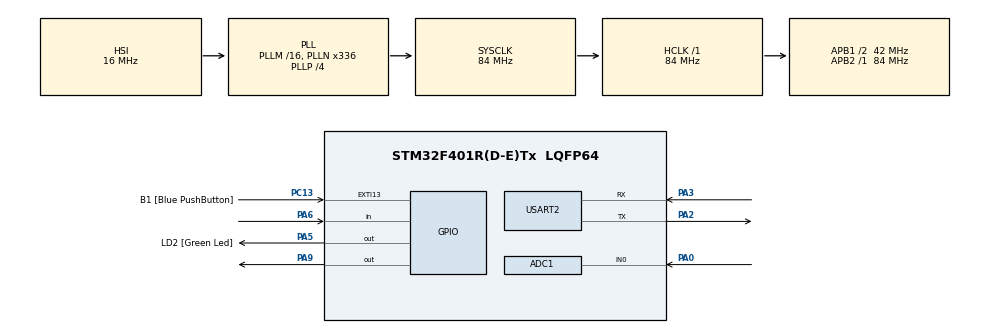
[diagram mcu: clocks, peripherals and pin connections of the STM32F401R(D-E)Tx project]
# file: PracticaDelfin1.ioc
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ADC1.Channel-0\#ChannelRegularConversion=ADC_CHANNEL_0
ADC1.ContinuousConvMode=DISABLE
ADC1.NbrOfConversionFlag=1
ADC1.Rank-0\#ChannelRegularConversion=1
ADC1.SamplingTime-0\#ChannelRegularConversion=ADC_SAMPLETIME_3CYCLES
ADC1.master=1
FREERTOS.Tasks01=defaultTask,24,128,StartDefaultTask,Default,NULL,Dynamic,NULL,NULL
FREERTOS.configUSE_IDLE_HOOK=1
FREERTOS.configUSE_NEWLIB_REENTRANT=1
Mcu.Family=STM32F4
Mcu.Name=STM32F401R(D-E)Tx
Mcu.Package=LQFP64
NVIC.PriorityGroup=NVIC_PRIORITYGROUP_4
NVIC.TIM1_UP_TIM10_IRQn=true\:15\:0\:false\:false\:true\:false\:false\:true\:true
NVIC.TimeBase=TIM1_UP_TIM10_IRQn
NVIC.TimeBaseIP=TIM1
PA0-WKUP.Signal=ADCx_IN0
PA13.GPIO_Label=TMS
PA13.Mode=Serial_Wire
PA13.Signal=SYS_JTMS-SWDIO
PA14.GPIO_Label=TCK
PA14.Mode=Serial_Wire
PA14.Signal=SYS_JTCK-SWCLK
PA2.GPIO_Mode=GPIO_MODE_AF_PP
PA2.GPIO_ModeDefaultPP=GPIO_MODE_AF_PP
PA2.GPIO_PuPd=GPIO_NOPULL
PA2.GPIO_Speed=GPIO_SPEED_FREQ_VERY_HIGH
PA2.Mode=Asynchronous
PA2.Signal=USART2_TX
PA3.GPIO_Mode=GPIO_MODE_AF_PP
PA3.GPIO_ModeDefaultPP=GPIO_MODE_AF_PP
PA3.GPIO_PuPd=GPIO_NOPULL
PA3.GPIO_Speed=GPIO_SPEED_FREQ_VERY_HIGH
PA3.Mode=Asynchronous
PA3.Signal=USART2_RX
PA5.GPIO_Label=LD2 [Green Led]
PA5.GPIO_Mode=GPIO_MODE_OUTPUT_PP
PA5.GPIO_PuPd=GPIO_NOPULL
PA5.GPIO_Speed=GPIO_SPEED_FREQ_LOW
PA5.Signal=GPIO_Output
PA6.GPIO_PuPd=GPIO_PULLDOWN
PA6.Signal=GPIO_Input
PA9.Signal=GPIO_Output
PB3.GPIO_Label=SWO
PB3.Signal=SYS_JTDO-SWO
PC13-ANTI_TAMP.GPIO_Label=B1 [Blue PushButton]
PC13-ANTI_TAMP.GPIO_ModeDefaultEXTI=GPIO_MODE_IT_FALLING
PC13-ANTI_TAMP.GPIO_PuPd=GPIO_NOPULL
PC13-ANTI_TAMP.Signal=GPXTI13
PC14-OSC32_IN.Mode=LSE-External-Oscillator
PC14-OSC32_IN.Signal=RCC_OSC32_IN
PC15-OSC32_OUT.Mode=LSE-External-Oscillator
PC15-OSC32_OUT.Signal=RCC_OSC32_OUT
PH0\ -\ OSC_IN.Mode=HSE-External-Clock-Source
PH0\ -\ OSC_IN.Signal=RCC_OSC_IN
PH1\ -\ OSC_OUT.Mode=HSE-External-Clock-Source
PH1\ -\ OSC_OUT.Signal=RCC_OSC_OUT
ProjectManager.HeapSize=0x200
ProjectManager.StackSize=0x400
ProjectManager.TargetToolchain=STM32CubeIDE
RCC.48MHZClocksFreq_Value=48000000
RCC.AHBFreq_Value=84000000
RCC.APB1CLKDivider=RCC_HCLK_DIV2
RCC.APB1Freq_Value=42000000
RCC.APB1TimFreq_Value=84000000
RCC.APB2Freq_Value=84000000
RCC.APB2TimFreq_Value=84000000
RCC.CortexFreq_Value=84000000
RCC.HCLKFreq_Value=84000000
RCC.HSE_VALUE=8000000
RCC.HSI_VALUE=16000000
RCC.PLLN=336
RCC.PLLP=RCC_PLLP_DIV4
RCC.PLLQ=7
RCC.SYSCLKFreq_VALUE=84000000
RCC.SYSCLKSource=RCC_SYSCLKSOURCE_PLLCLK
RCC.VCOOutputFreq_Value=336000000
SH.ADCx_IN0.0=ADC1_IN0,IN0
USART2.VirtualMode=VM_ASYNC
VP_FREERTOS_VS_CMSIS_V2.Mode=CMSIS_V2
VP_SYS_VS_tim1.Mode=TIM1
board=NUCLEO-F401RE

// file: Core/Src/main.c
/* USER CODE BEGIN Header */
/**
  ******************************************************************************
  * @file           : main.c
  * @brief          : Main program body
  ******************************************************************************
  * @attention
  *
  * Copyright (c) 2026 STMicroelectronics.
  * All rights reserved.
  *
  * This software is licensed under terms that can be found in the LICENSE file
  * in the root directory of this software component.
  * If no LICENSE file comes with this software, it is provided AS-IS.
  *
  ******************************************************************************
  */
/*
 *
 * Integrantes:
 * Victor Hugo Barrera Garcia y Sergio Garcia Hernandez
 *
 * Conclusion:
 * En esta practica se implemento un sistema multitarea en STM32
 * utilizando FreeRTOS, donde se controlo el parpadeo de un LED en
 * dos velocidades diferentes y se realizo la lectura del ADC al
 * presionar un boton.
 *
 * Se comprobo que las tareas pueden coordinarse mediante suspension
 * y reanudacion, permitiendo que el sistema ejecute primero el modo
 * rapido durante 5 segundos, despues el modo lento durante 5 segundos
 * y finalmente entre a un estado de espera.
 *
 * Durante el estado de espera, si se presiona el boton, el sistema
 * lee el valor del ADC, calcula el voltaje correspondiente y lo
 * muestra por UART. Si no se presiona el boton, el programa regresa
 * automaticamente al modo rapido despues de 5 segundos.
 *
 * Esta practica permitio reforzar conceptos importantes de sistemas
 * embebidos en tiempo real, como tareas, retardos, prioridades,
 * Idle Hook, lectura analogica y comunicacion serial.
 */
/* USER CODE END Header */
#include "main.h"
#include "cmsis_os.h"

/* USER CODE BEGIN Includes */
#include <stdio.h>
#include <string.h>
#include "FreeRTOS.h"
#include "task.h"

/* USER CODE END Includes */

ADC_HandleTypeDef hadc1;

UART_HandleTypeDef huart2;

/* Definitions for defaultTask */
osThreadId_t defaultTaskHandle;
const osThreadAttr_t defaultTask_attributes = {
  .name = "defaultTask",
  .stack_size = 128 * 4,
  .priority = (osPriority_t) osPriorityNormal,
};
/* USER CODE BEGIN PV */
TaskHandle_t hTaskLedRapido = NULL;
TaskHandle_t hTaskLedLento  = NULL;
TaskHandle_t hTaskADC       = NULL;
#define PRIORIDAD_LEDRapido 2
#define PRIORIDAD_LEDLento  2
#define PRIORIDAD_ADC  2

volatile uint8_t IDLE_HOOK = 0;
volatile uint32_t tiempoInicioIdle = 0;

/* USER CODE END PV */

void SystemClock_Config(void);
static void MX_GPIO_Init(void);
static void MX_USART2_UART_Init(void);
static void MX_ADC1_Init(void);
void StartDefaultTask(void *argument);

/* USER CODE BEGIN PFP */
int uart2_write(int ch);
int __io_putchar(int ch);

void vTaskLedRapido(void *pvParameters);
void vTaskLedLento(void *pvParameters);
void vTaskADC(void *pvParameters);
uint32_t Leer_ADC(void);

//float LeerVoltajeADC(void);

/* USER CODE END PFP */

int main(void)
{

  /* MCU Configuration--------------------------------------------------------*/

  /* Reset of all peripherals, Initializes the Flash interface and the Systick. */
  HAL_Init();

  /* Configure the system clock */
  SystemClock_Config();

  /* Initialize all configured peripherals */
  MX_GPIO_Init();
  MX_USART2_UART_Init();
  MX_ADC1_Init();
  /* USER CODE BEGIN 2 */
  printf("vic y Sergio\n\r");
  xTaskCreate(vTaskLedRapido,
              "LedRapido",
              512,
              NULL,
			  PRIORIDAD_LEDRapido,
			  &hTaskLedRapido);

  xTaskCreate(vTaskLedLento,
              "LedLento",
			  512,
              NULL,
			  PRIORIDAD_LEDLento,
			  &hTaskLedLento);

   xTaskCreate(vTaskADC,
              "ADC",
			  512,
              NULL,
			  PRIORIDAD_ADC,
			  &hTaskADC);

  vTaskSuspend(hTaskLedLento);
  vTaskSuspend(hTaskADC);

  vTaskStartScheduler();

  /* USER CODE END 2 */

  /* We should never get here as control is now taken by the scheduler */

  /* Infinite loop */
  while (1)
  {

  }
}

void SystemClock_Config(void)
{
  RCC_OscInitTypeDef RCC_OscInitStruct = {0};
  RCC_ClkInitTypeDef RCC_ClkInitStruct = {0};

  /** Configure the main internal regulator output voltage
  */
  __HAL_RCC_PWR_CLK_ENABLE();
  __HAL_PWR_VOLTAGESCALING_CONFIG(PWR_REGULATOR_VOLTAGE_SCALE2);

  /** Initializes the RCC Oscillators according to the specified parameters
  * in the RCC_OscInitTypeDef structure.
  */
  RCC_OscInitStruct.OscillatorType = RCC_OSCILLATORTYPE_HSI;
  RCC_OscInitStruct.HSIState = RCC_HSI_ON;
  RCC_OscInitStruct.HSICalibrationValue = RCC_HSICALIBRATION_DEFAULT;
  RCC_OscInitStruct.PLL.PLLState = RCC_PLL_ON;
  RCC_OscInitStruct.PLL.PLLSource = RCC_PLLSOURCE_HSI;
  RCC_OscInitStruct.PLL.PLLM = 16;
  RCC_OscInitStruct.PLL.PLLN = 336;
  RCC_OscInitStruct.PLL.PLLP = RCC_PLLP_DIV4;
  RCC_OscInitStruct.PLL.PLLQ = 7;
  if (HAL_RCC_OscConfig(&RCC_OscInitStruct) != HAL_OK)
  {
    Error_Handler();
  }

  /** Initializes the CPU, AHB and APB buses clocks
  */
  RCC_ClkInitStruct.ClockType = RCC_CLOCKTYPE_HCLK|RCC_CLOCKTYPE_SYSCLK
                              |RCC_CLOCKTYPE_PCLK1|RCC_CLOCKTYPE_PCLK2;
  RCC_ClkInitStruct.SYSCLKSource = RCC_SYSCLKSOURCE_PLLCLK;
  RCC_ClkInitStruct.AHBCLKDivider = RCC_SYSCLK_DIV1;
  RCC_ClkInitStruct.APB1CLKDivider = RCC_HCLK_DIV2;
  RCC_ClkInitStruct.APB2CLKDivider = RCC_HCLK_DIV1;

  if (HAL_RCC_ClockConfig(&RCC_ClkInitStruct, FLASH_LATENCY_2) != HAL_OK)
  {
    Error_Handler();
  }
}

static void MX_ADC1_Init(void)
{

  ADC_ChannelConfTypeDef sConfig = {0};

  /** Configure the global features of the ADC (Clock, Resolution, Data Alignment and number of conversion)
  */
  hadc1.Instance = ADC1;
  hadc1.Init.ClockPrescaler = ADC_CLOCK_SYNC_PCLK_DIV4;
  hadc1.Init.Resolution = ADC_RESOLUTION_12B;
  hadc1.Init.ScanConvMode = DISABLE;
  hadc1.Init.ContinuousConvMode = DISABLE;
  hadc1.Init.DiscontinuousConvMode = DISABLE;
  hadc1.Init.ExternalTrigConvEdge = ADC_EXTERNALTRIGCONVEDGE_NONE;
  hadc1.Init.ExternalTrigConv = ADC_SOFTWARE_START;
  hadc1.Init.DataAlign = ADC_DATAALIGN_RIGHT;
  hadc1.Init.NbrOfConversion = 1;
  hadc1.Init.DMAContinuousRequests = DISABLE;
  hadc1.Init.EOCSelection = ADC_EOC_SINGLE_CONV;
  if (HAL_ADC_Init(&hadc1) != HAL_OK)
  {
    Error_Handler();
  }

  /** Configure for the selected ADC regular channel its corresponding rank in the sequencer and its sample time.
  */
  sConfig.Channel = ADC_CHANNEL_0;
  sConfig.Rank = 1;
  sConfig.SamplingTime = ADC_SAMPLETIME_3CYCLES;
  if (HAL_ADC_ConfigChannel(&hadc1, &sConfig) != HAL_OK)
  {
    Error_Handler();
  }

}

static void MX_USART2_UART_Init(void)
{

  huart2.Instance = USART2;
  huart2.Init.BaudRate = 115200;
  huart2.Init.WordLength = UART_WORDLENGTH_8B;
  huart2.Init.StopBits = UART_STOPBITS_1;
  huart2.Init.Parity = UART_PARITY_NONE;
  huart2.Init.Mode = UART_MODE_TX_RX;
  huart2.Init.HwFlowCtl = UART_HWCONTROL_NONE;
  huart2.Init.OverSampling = UART_OVERSAMPLING_16;
  if (HAL_UART_Init(&huart2) != HAL_OK)
  {
    Error_Handler();
  }

}

static void MX_GPIO_Init(void)
{
  GPIO_InitTypeDef GPIO_InitStruct = {0};

  /* GPIO Ports Clock Enable */
  __HAL_RCC_GPIOC_CLK_ENABLE();
  __HAL_RCC_GPIOH_CLK_ENABLE();
  __HAL_RCC_GPIOA_CLK_ENABLE();
  __HAL_RCC_GPIOB_CLK_ENABLE();

  /*Configure GPIO pin Output Level */
  HAL_GPIO_WritePin(GPIOA, LD2_Pin|GPIO_PIN_9, GPIO_PIN_RESET);

  /*Configure GPIO pin : B1_Pin */
  GPIO_InitStruct.Pin = B1_Pin;
  GPIO_InitStruct.Mode = GPIO_MODE_IT_FALLING;
  GPIO_InitStruct.Pull = GPIO_NOPULL;
  HAL_GPIO_Init(B1_GPIO_Port, &GPIO_InitStruct);

  /*Configure GPIO pins : LD2_Pin PA9 */
  GPIO_InitStruct.Pin = LD2_Pin|GPIO_PIN_9;
  GPIO_InitStruct.Mode = GPIO_MODE_OUTPUT_PP;
  GPIO_InitStruct.Pull = GPIO_NOPULL;
  GPIO_InitStruct.Speed = GPIO_SPEED_FREQ_LOW;
  HAL_GPIO_Init(GPIOA, &GPIO_InitStruct);

  /*Configure GPIO pin : PA6 */
  GPIO_InitStruct.Pin = GPIO_PIN_6;
  GPIO_InitStruct.Mode = GPIO_MODE_INPUT;
  GPIO_InitStruct.Pull = GPIO_PULLDOWN;
  HAL_GPIO_Init(GPIOA, &GPIO_InitStruct);

}

/* USER CODE BEGIN 4 */

// Función usada para enviar un carácter por UART2
int uart2_write(int ch)
{
    // Espera hasta que el registro de transmisión esté vacío
    while (!(USART2->SR & USART_SR_TXE)) {}

    // Envía el carácter por el registro de datos de USART2
    USART2->DR = (ch & 0xFF);

    // Regresa el carácter enviado
    return ch;
}

// Redirección de printf hacia UART2
int __io_putchar(int ch)
{
    uart2_write(ch);   // Envía cada carácter de printf por UART2
    return ch;
}

// Tarea encargada del parpadeo rápido del LED
void vTaskLedRapido(void *pvParameters)
{
    for (;;)
    {
        printf("LED_R\r\n");   // Indica por UART que inició el modo rápido

        // Guarda el tiempo inicial del modo rápido
        uint32_t tiempoInicio = xTaskGetTickCount();

        // Mantiene el parpadeo rápido durante 5 segundos
        while ((xTaskGetTickCount() - tiempoInicio) < pdMS_TO_TICKS(5000))
        {
            HAL_GPIO_TogglePin(GPIOA, GPIO_PIN_9);   // Cambia el estado del LED
            vTaskDelay(pdMS_TO_TICKS(100));          // Retardo de 100 ms
        }

        // Apaga el LED al terminar el modo rápido
        HAL_GPIO_WritePin(GPIOA, GPIO_PIN_9, GPIO_PIN_RESET);

        // Reanuda la tarea del LED lento
        vTaskResume(hTaskLedLento);

        // Suspende esta tarea hasta que otra tarea la vuelva a reanudar
        vTaskSuspend(NULL);
    }
}

// Tarea encargada del parpadeo lento del LED
void vTaskLedLento(void *pvParameters)
{
    for (;;)
    {
        printf("LED_L\r\n");   // Indica por UART que inició el modo lento

        // Guarda el tiempo inicial del modo lento
        uint32_t tiempoInicio = xTaskGetTickCount();

        // Mantiene el parpadeo lento durante 5 segundos
        while ((xTaskGetTickCount() - tiempoInicio) < pdMS_TO_TICKS(5000))
        {
            HAL_GPIO_TogglePin(GPIOA, GPIO_PIN_9);   // Cambia el estado del LED
            vTaskDelay(pdMS_TO_TICKS(500));          // Retardo de 500 ms
        }

        // Apaga el LED al terminar el modo lento
        HAL_GPIO_WritePin(GPIOA, GPIO_PIN_9, GPIO_PIN_RESET);

        // Activa la bandera para indicar que el sistema entra al estado IDLE
        IDLE_HOOK = 1;

        // Guarda el tiempo en que inició el estado IDLE
        tiempoInicioIdle = xTaskGetTickCount();

        // Suspende esta tarea hasta que vuelva a ser reanudada
        vTaskSuspend(NULL);
    }
}

// Tarea encargada de leer el ADC y mostrar el voltaje
void vTaskADC(void *pvParameters)
{
    for (;;)
    {
        // Lee el valor digital del ADC
        uint32_t adc = Leer_ADC();

        // Convierte el valor ADC a voltaje considerando referencia de 3.3 V y resolución de 12 bits
        float voltaje = (adc * 3.3f) / 4095.0f;

        // Imprime por UART el valor crudo del ADC y su equivalente en voltaje
        printf("Valor del ADC: %lu  Voltaje: %.2f V\r\n", adc, voltaje);

        // Pequeño retardo para evitar lecturas demasiado rápidas
        vTaskDelay(pdMS_TO_TICKS(500));

        // Después de leer el ADC, regresa inmediatamente al modo de LED rápido
        vTaskResume(hTaskLedRapido);

        // Suspende la tarea ADC hasta que el botón vuelva a activarla
        vTaskSuspend(NULL);
    }
}

// Función para obtener el valor del ADC
uint32_t Leer_ADC(void)
{
    HAL_ADC_Start(&hadc1);                         // Inicia la conversión ADC
    HAL_ADC_PollForConversion(&hadc1, HAL_MAX_DELAY); // Espera hasta que termine la conversión
    return HAL_ADC_GetValue(&hadc1);               // Regresa el valor digital leído
}
/* USER CODE END 4 */

void StartDefaultTask(void *argument)
{
  for(;;)
  {
    osDelay(1);
  }
}

void HAL_TIM_PeriodElapsedCallback(TIM_HandleTypeDef *htim)
{
  if (htim->Instance == TIM1)
  {
    HAL_IncTick();
  }
}

void Error_Handler(void)
{
  __disable_irq();
  while (1)
  {
  }
}

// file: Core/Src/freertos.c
/* USER CODE BEGIN Header */
/**
  ******************************************************************************
  * File Name          : freertos.c
  * Description        : Code for freertos applications
  ******************************************************************************
  * @attention
  *
  * Copyright (c) 2026 STMicroelectronics.
  * All rights reserved.
  *
  * This software is licensed under terms that can be found in the LICENSE file
  * in the root directory of this software component.
  * If no LICENSE file comes with this software, it is provided AS-IS.
  *
  ******************************************************************************
  */
/* USER CODE END Header */

#include "FreeRTOS.h"
#include "task.h"
#include "main.h"

/* USER CODE BEGIN Includes */
#include <stdio.h>
#include "main.h"
/* USER CODE END Includes */

/* USER CODE BEGIN FunctionPrototypes */
extern volatile uint8_t IDLE_HOOK;
extern volatile uint32_t tiempoInicioIdle;
extern TaskHandle_t hTaskADC;
extern TaskHandle_t hTaskLedRapido;
//extern uint32_t Leer_ADC(void);
/* USER CODE END FunctionPrototypes */

/* Hook prototypes */
void vApplicationIdleHook(void);

/* USER CODE BEGIN 2 */

void vApplicationIdleHook( void )
{
   /* vApplicationIdleHook() will only be called if configUSE_IDLE_HOOK is set
   to 1 in FreeRTOSConfig.h. It will be called on each iteration of the idle
   task. It is essential that code added to this hook function never attempts
   to block in any way (for example, call xQueueReceive() with a block time
   specified, or call vTaskDelay()). If the application makes use of the
   vTaskDelete() API function (as this demo application does) then it is also
   important that vApplicationIdleHook() is permitted to return to its calling
   function, because it is the responsibility of the idle task to clean up
   memory allocated by the kernel to any task that has since been deleted. */

	static uint32_t ultimoMensaje = 0;   // Guarda el último tick en el que se imprimió el mensaje de IDLE

	// Solo entra a esta lógica cuando el sistema está en estado IDLE
	if (IDLE_HOOK == 1)
	{
	    // Imprime un mensaje cada 2500 ms para indicar que la CPU está libre
	    if ((xTaskGetTickCount() - ultimoMensaje) >= pdMS_TO_TICKS(2500))
	    {
	        ultimoMensaje = xTaskGetTickCount();   // Actualiza el tiempo del último mensaje

	        printf("Estoy en idle\r\n");           // Mensaje de estado IDLE
	        printf("CPU libre\r\n");               // Indica que no hay tareas activas ejecutándose
	    }

	    // Verifica si el botón conectado en PA6 fue presionado
	    if (HAL_GPIO_ReadPin(GPIOA, GPIO_PIN_6) == GPIO_PIN_SET)
	    {
	        printf("Boton presionado\r\n");        // Reporta por UART que se detectó el botón

	        IDLE_HOOK = 0;                          // Sale del estado IDLE
	        vTaskResume(hTaskADC);                  // Reanuda la tarea encargada de leer el ADC
	    }

	    // Si pasan 5 segundos en IDLE sin presionar el botón,
	    // el sistema regresa automáticamente al parpadeo rápido
	    if ((xTaskGetTickCount() - tiempoInicioIdle) >= pdMS_TO_TICKS(5000))
	    {
	        IDLE_HOOK = 0;                          // Sale del estado IDLE
	        vTaskResume(hTaskLedRapido);            // Reanuda la tarea del LED rápido
	    }
	}
}
/* USER CODE END 2 */
